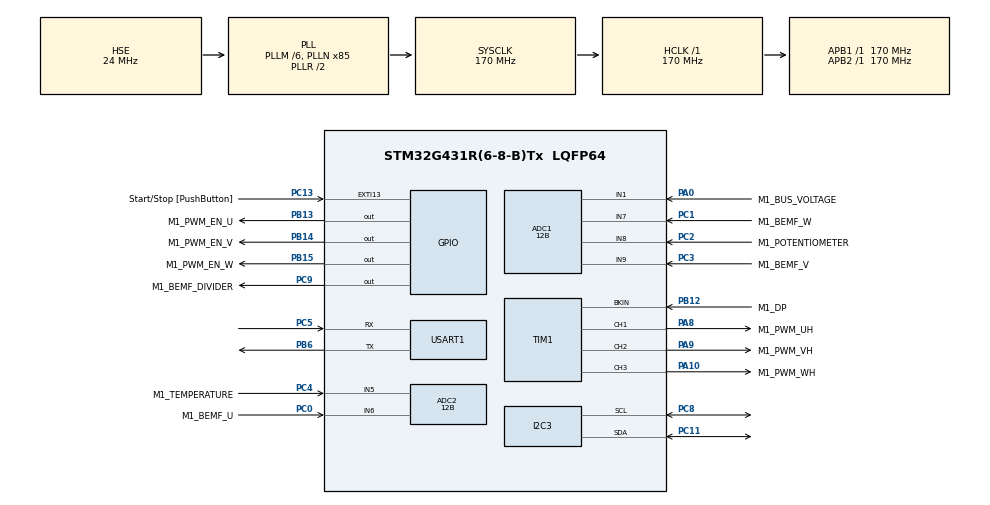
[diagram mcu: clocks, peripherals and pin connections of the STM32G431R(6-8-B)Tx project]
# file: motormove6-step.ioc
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ADC1.AWD1FilteringConfig=ADC_AWD_FILTERING_NONE
ADC1.Channel-1\#ChannelRegularConversion=ADC_CHANNEL_1
ADC1.Channel-2\#ChannelRegularConversion=ADC_CHANNEL_8
ADC1.ClockPrescaler=ADC_CLOCK_ASYNC_DIV1
ADC1.ContinuousConvMode=DISABLE
ADC1.DMAContinuousRequests=DISABLE
ADC1.DataAlign=ADC_DATAALIGN_LEFT
ADC1.DiscontinuousConvMode=DISABLE
ADC1.EOCSelection=ADC_EOC_SINGLE_CONV
ADC1.EnableAnalogWatchDog1=true
ADC1.EnableAnalogWatchDog2=false
ADC1.EnableAnalogWatchDog3=false
ADC1.EnableInjectedConversion=ENABLE
ADC1.EnableRegularConversion=ENABLE
ADC1.ExternalTrigConv=ADC_SOFTWARE_START
ADC1.ExternalTrigConvEdge=ADC_EXTERNALTRIGCONVEDGE_NONE
ADC1.ExternalTrigInjecConv=ADC_EXTERNALTRIGINJEC_T1_TRGO
ADC1.ExternalTrigInjecConvEdge=ADC_EXTERNALTRIGINJECCONV_EDGE_FALLING
ADC1.InjNumberOfConversion=1
ADC1.InjectedChannel-1\#ChannelInjectedConversion=ADC_CHANNEL_9
ADC1.InjectedConvMode=None
ADC1.InjectedOffset-1\#ChannelInjectedConversion=0
ADC1.InjectedOffsetNumber-1\#ChannelInjectedConversion=ADC_OFFSET_NONE
ADC1.InjectedRank-1\#ChannelInjectedConversion=1
ADC1.InjectedSamplingTime-1\#ChannelInjectedConversion=ADC_SAMPLETIME_47CYCLES_5
ADC1.LowPowerAutoWait=DISABLE
ADC1.NbrOfConversion=2
ADC1.NbrOfConversionFlag=1
ADC1.Offset-1\#ChannelRegularConversion=0
ADC1.Offset-2\#ChannelRegularConversion=0
ADC1.OffsetNumber-1\#ChannelRegularConversion=ADC_OFFSET_NONE
ADC1.OffsetNumber-2\#ChannelRegularConversion=ADC_OFFSET_NONE
ADC1.Overrun=ADC_OVR_DATA_PRESERVED
ADC1.Rank-1\#ChannelRegularConversion=1
ADC1.Rank-2\#ChannelRegularConversion=2
ADC1.Resolution=ADC_RESOLUTION_12B
ADC1.SamplingTime-1\#ChannelRegularConversion=ADC_SAMPLETIME_47CYCLES_5
ADC1.SamplingTime-2\#ChannelRegularConversion=ADC_SAMPLETIME_47CYCLES_5
ADC1.ScanConvMode=ADC_SCAN_ENABLE
ADC1.WatchdogChannel=ADC_CHANNEL_9
ADC1.WatchdogMode=ADC_ANALOGWATCHDOG_SINGLE_INJEC
ADC1.master=1
ADC2.AWD1FilteringConfig=ADC_AWD_FILTERING_NONE
ADC2.Channel-1\#ChannelRegularConversion=ADC_CHANNEL_5
ADC2.ClockPrescaler=ADC_CLOCK_ASYNC_DIV1
ADC2.ContinuousConvMode=DISABLE
ADC2.DMAContinuousRequests=DISABLE
ADC2.DataAlign=ADC_DATAALIGN_LEFT
ADC2.DiscontinuousConvMode=DISABLE
ADC2.EOCSelection=ADC_EOC_SINGLE_CONV
ADC2.EnableAnalogWatchDog1=true
ADC2.EnableAnalogWatchDog2=false
ADC2.EnableAnalogWatchDog3=false
ADC2.EnableInjectedConversion=ENABLE
ADC2.EnableRegularConversion=ENABLE
ADC2.ExternalTrigConv=ADC_SOFTWARE_START
ADC2.ExternalTrigConvEdge=ADC_EXTERNALTRIGCONVEDGE_NONE
ADC2.ExternalTrigInjecConv=ADC_EXTERNALTRIGINJEC_T1_TRGO
ADC2.ExternalTrigInjecConvEdge=ADC_EXTERNALTRIGINJECCONV_EDGE_FALLING
ADC2.InjNumberOfConversion=1
ADC2.InjectedChannel-1\#ChannelInjectedConversion=ADC_CHANNEL_6
ADC2.InjectedConvMode=None
ADC2.InjectedOffset-1\#ChannelInjectedConversion=0
ADC2.InjectedOffsetNumber-1\#ChannelInjectedConversion=ADC_OFFSET_NONE
ADC2.InjectedRank-1\#ChannelInjectedConversion=1
ADC2.InjectedSamplingTime-1\#ChannelInjectedConversion=ADC_SAMPLETIME_47CYCLES_5
ADC2.LowPowerAutoWait=DISABLE
ADC2.NbrOfConversion=1
ADC2.NbrOfConversionFlag=1
ADC2.Offset-1\#ChannelRegularConversion=0
ADC2.OffsetNumber-1\#ChannelRegularConversion=ADC_OFFSET_NONE
ADC2.Overrun=ADC_OVR_DATA_PRESERVED
ADC2.Rank-1\#ChannelRegularConversion=1
ADC2.Resolution=ADC_RESOLUTION_12B
ADC2.SamplingTime-1\#ChannelRegularConversion=ADC_SAMPLETIME_47CYCLES_5
ADC2.ScanConvMode=ADC_SCAN_DISABLE
ADC2.WatchdogChannel=ADC_CHANNEL_6
ADC2.WatchdogMode=ADC_ANALOGWATCHDOG_SINGLE_INJEC
ADC2.master=1
ExtraMW=MotorControl
ExtraMW.MotorControl.Config=MotorControl
ExtraMW.MotorControl.Mode=MotorControl
ExtraMW.MotorControl.Root=MCSDK_v6.4.2-Full/MotorControl
ExtraMW.MotorControl.Template=templates
FREERTOS.Queues01=TelemetryQueue,16,uint16_t,0,Dynamic,NULL,NULL
FREERTOS.Tasks01=defaultTask,24,128,StartDefaultTask,Default,NULL,Dynamic,NULL,NULL;TaskCommand,24,128,StartTask02,Default,NULL,Dynamic,NULL,NULL;TaskTelemetry,16,128,StartTask03,Default,NULL,Dynamic,NULL,NULL
FREERTOS.configUSE_NEWLIB_REENTRANT=1
I2C3.Timing=0x40B285C2
Mcu.Family=STM32G4
Mcu.Name=STM32G431R(6-8-B)Tx
Mcu.Package=LQFP64
MotorControl.ADC_REFERENCE_VOLTAGE=3.3
MotorControl.BEMF_ADC_SAMPLING_TIME=47
MotorControl.BEMF_ADC_TRIG_TIME_DPP=921
MotorControl.BEMF_ADC_TRIG_TIME_ON_DPP=256
MotorControl.BEMF_AVERAGING_FIFO_DEPTH=8
MotorControl.BEMF_DIVIDER_AVAILABLE=true
MotorControl.BEMF_DIVIDER_GPIO_PIN=LL_GPIO_PIN_9
MotorControl.BEMF_DIVIDER_GPIO_PORT=GPIOC
MotorControl.BEMF_ON_SENSING_DIVIDER=5.545455
MotorControl.BEMF_PWM_ON_ENABLE_HYSTERESIS_DPP=51
MotorControl.BEMF_PWM_ON_ENABLE_THRES_DPP=716
MotorControl.BOARD=NUCLEO-G431RB
MotorControl.BUS_VOLTAGE_READING=true
MotorControl.CCMRAM_ENABLED=false
MotorControl.CLOCK_FREQUENCY=CPU_CLK_170_MHZ
MotorControl.CLOCK_SOURCE=EXTERNAL
MotorControl.CPU_CLK_170_MHZ=true
MotorControl.CTLBOARD_NAME=NUCLEO-G431RB
MotorControl.CUBE_MX_VER=6.17.0
MotorControl.DBG_MCU_LOAD_MEASURE=false
MotorControl.DEBUG_DAC_FUNCTIONALITY_EN=false
MotorControl.DP_EMERGENCY_STOP_GPIO_PIN=LL_GPIO_PIN_12
MotorControl.DP_EMERGENCY_STOP_GPIO_PORT=GPIOB
MotorControl.DRIVES_NUMBER_SELECTION=SINGLEDRIVE
MotorControl.DRIVE_MODE=VM
MotorControl.DRIVE_NUMBER=1
MotorControl.DRIVE_TYPE=SIX_STEP
MotorControl.ENCODER_AVAILABLE=false
MotorControl.ENCODER_PPR=400
MotorControl.EXT_CLK_24_MHZ=true
MotorControl.EXT_CLOCK_FREQUENCY=EXT_CLK_24_MHZ
MotorControl.FAST_DEMAG=false
MotorControl.FLASH_SIZE=128
MotorControl.HALL_SENSORS_AVAILABLE=false
MotorControl.HIGH_SIDE_IDLE_STATE=false
MotorControl.HWV_DP=SingleErrorTrigger_FixedReference
MotorControl.HWV_POTENTIOMETER=Potentiometer
MotorControl.HWV_PWM=DrivingHighSidesAndThreeEnables
MotorControl.HW_COMPLEMENTED_LOW_SIDE=true
MotorControl.HW_DEAD_TIME_NS=550
MotorControl.IPs=NVIC,RCC,SYS,MotorControl,TIM1,TIM2,ADC2,ADC1,USART2,DMA
MotorControl.LF_TIMER_SELECTION=LF_TIM2
MotorControl.LOW_MEMORY_FOOTPRINT_REG=false
MotorControl.LOW_SIDE_IDLE_STATE=false
MotorControl.LOW_SIDE_SIGNALS_ENABLING=ES_GPIO
MotorControl.M1_ADC_AWD_FILTER_NUMBER=0
MotorControl.M1_AUXILIARY_SPEED_SENSOR=NONE
MotorControl.M1_BEMF_THRESHOLD_PWM=50
MotorControl.M1_BEMF_THRESHOLD_PWM_HIGH=100
MotorControl.M1_BEMF_THRESHOLD_PWM_LOW=1
MotorControl.M1_BOARD_MAX_CURRENT=0.8
MotorControl.M1_BUS_VOLTAGE_READING=true
MotorControl.M1_COMPUTATION_DELAY=-2
MotorControl.M1_CURRENT_MONITOR_READING=false
MotorControl.M1_CUR_READING=false
MotorControl.M1_DBG_OPEN_LOOP_ENABLE=false
MotorControl.M1_DC_CURRENT_RS_MEAS=0.8
MotorControl.M1_DEFAULT_TARGET_SPEED_RPM=236
MotorControl.M1_DP_BKIN_FILTER=4
MotorControl.M1_DP_BKIN_MODE=EXT_MODE
MotorControl.M1_DP_BKIN_POLARITY=EMSTOP_ACTIVE_LOW
MotorControl.M1_DP_DESTINATION=TIM_BKIN
MotorControl.M1_DP_TOPOLOGY=EXTERNAL
MotorControl.M1_DRIVE_TYPE=SIX_STEP
MotorControl.M1_ENABLE_SL_ALGO_FROM_PHASE=3
MotorControl.M1_ENCODER_PPR=400
MotorControl.M1_HALL_PHASE_SHIFT=300
MotorControl.M1_HALL_SENSORS_PLACEMENT=DEGREES_120
MotorControl.M1_HIGH_SIDE_IDLE_STATE=false
MotorControl.M1_HW_DEAD_TIME_NS=550
MotorControl.M1_ICL_ENABLED=false
MotorControl.M1_IPD_STARTUP=false
MotorControl.M1_LDLQ_RATIO=1.000
MotorControl.M1_LOW_SIDE_IDLE_STATE=false
MotorControl.M1_LOW_SIDE_SIGNALS_ENABLING=ES_GPIO
MotorControl.M1_LS=0.001058
MotorControl.M1_MAX_APPLICATION_SPEED=1572
MotorControl.M1_MAX_CONSECUTIVE_BEMF_ERRORS=3
MotorControl.M1_MIN_APPLICATION_SPEED=0
MotorControl.M1_MOTOR_MAX_SPEED_RPM=1572
MotorControl.M1_MOTOR_NAME=GimBal GBM2804H-100T
MotorControl.M1_MOTOR_RATED_FLUX=0.034739897
MotorControl.M1_MOTOR_VOLTAGE_CONSTANT=5.0
MotorControl.M1_NB_CONSECUTIVE_TESTS=10
MotorControl.M1_NOMINAL_BUS_VOLTAGE_V=13
MotorControl.M1_OBS_MINIMUM_SPEED_RPM=236
MotorControl.M1_OCP_TOPOLOGY=NONE
MotorControl.M1_ON_OVER_VOLTAGE=TURN_OFF_PWM
MotorControl.M1_OTF_STARTUP=false
MotorControl.M1_OVP_THRESHOLD_HIGH=15.1
MotorControl.M1_OV_TEMPERATURE_HYSTERESIS_C=10
MotorControl.M1_OV_TEMPERATURE_PROT_ENABLING=true
MotorControl.M1_OV_TEMPERATURE_THRESHOLD_C=110
MotorControl.M1_OV_VOLTAGE_PROT_ENABLING=true
MotorControl.M1_OV_VOLTAGE_THRESHOLD_V=15.1
MotorControl.M1_PHASE1_DURATION=500
MotorControl.M1_PHASE1_FINAL_SPEED_RPM=0
MotorControl.M1_PHASE1_VOLTAGE_RMS=0.52
MotorControl.M1_PHASE2_DURATION=1000
MotorControl.M1_PHASE2_FINAL_SPEED_RPM=236
MotorControl.M1_PHASE2_VOLTAGE_RMS=4.6
MotorControl.M1_PHASE3_DURATION=500
MotorControl.M1_PHASE3_FINAL_SPEED_RPM=236
MotorControl.M1_PHASE3_VOLTAGE_RMS=4.6
MotorControl.M1_PHASE4_DURATION=0
MotorControl.M1_PHASE4_FINAL_SPEED_RPM=0
MotorControl.M1_PHASE4_VOLTAGE_RMS=0.52
MotorControl.M1_PHASE5_DURATION=0
MotorControl.M1_PHASE5_FINAL_SPEED_RPM=0
MotorControl.M1_PHASE5_VOLTAGE_RMS=0.52
MotorControl.M1_PID_SPEED_KD_DEFAULT=0
MotorControl.M1_PID_SPEED_KI_DEFAULT=238
MotorControl.M1_PID_SPEED_KP_DEFAULT=2316
MotorControl.M1_POLE_PAIR_NUM=7
MotorControl.M1_POTENTIOMETER_ENABLE=true
MotorControl.M1_POWERBOARD_NAME=X-NUCLEO-IHM16M1
MotorControl.M1_PWM_CHARGE_BOOT_CAP_DUTY_CYCLES=0.000
MotorControl.M1_PWM_CHARGE_BOOT_CAP_MS=10
MotorControl.M1_PWM_DRIVER_PN=STSPIN830
MotorControl.M1_PWM_FREQUENCY=15000
MotorControl.M1_PWM_TIMER_BRK_IRQ=TIM1_BRK_TIM15
MotorControl.M1_PWM_TIMER_SELECTION=PWM_TIM1
MotorControl.M1_PWM_TIMER_UP_IRQ=TIM1_UP_TIM16
MotorControl.M1_REGULATION_EXECUTION_RATE=1
MotorControl.M1_RS=5.29
MotorControl.M1_SHARED_SIGNAL_ENABLE=false
MotorControl.M1_SPD_DIFFERENTIAL_TERM_ENABLING=false
MotorControl.M1_SPEED_LOOP_FREQUENCY_HZ=1000
MotorControl.M1_SPEED_SENSOR=SENSORLESS_ADC
MotorControl.M1_SP_KDDIV=16
MotorControl.M1_SP_KIDIV=16384
MotorControl.M1_SP_KPDIV=512
MotorControl.M1_SS_MEAS_ERRORS_BEFORE_FAULTS=3
MotorControl.M1_STARTING_ANGLE_DEG=0
MotorControl.M1_SW_DEADTIME_NS=425
MotorControl.M1_T0_C=25
MotorControl.M1_TEMPERATURE_READING=true
MotorControl.M1_TEMP_ADC_SAMPLING_TIME=47
MotorControl.M1_TEMP_FDBK_ADC=ADC2
MotorControl.M1_TEMP_FDBK_CHANNEL=ADC_CHANNEL_5
MotorControl.M1_TRANSITION_DURATION=30
MotorControl.M1_T_MAX=110
MotorControl.M1_UD_VOLTAGE_THRESHOLD_V=7.0
MotorControl.M1_UV_VOLTAGE_PROT_ENABLING=true
MotorControl.M1_V0_V=0.579
MotorControl.M1_VBUS_ADC=ADC1
MotorControl.M1_VBUS_ADC_SAMPLING_TIME=47
MotorControl.M1_VBUS_CHANNEL=ADC_CHANNEL_1
MotorControl.M1_VBUS_PARTITIONING_FACTOR=0.0625
MotorControl.M1_ZCD_FALLING_TO_COMM=30
MotorControl.M1_ZCD_RISING_TO_COMM=30
MotorControl.M1_dV_dT=0.027
MotorControl.MCP_ASPEP_OVER_UART=true
MotorControl.MCP_ASYNC_EN=false
MotorControl.MCP_ASYNC_OVER_ASPEP_EN=false
MotorControl.MCP_ASYNC_OVER_UART_A_EN=false
MotorControl.MCP_DMACH_RX_UART_A=1
MotorControl.MCP_DMACH_TX_UART_A=2
MotorControl.MCP_DMA_RX_UART_A=DMA1
MotorControl.MCP_DMA_TX_UART_A=DMA1
MotorControl.MCP_EN=true
MotorControl.MCP_IRQ_HANDLER_DMA_RX_UART_A=DMA1_Channel1_IRQHandler
MotorControl.MCP_IRQ_HANDLER_UART_A=USART2_IRQHandler
MotorControl.MCP_OVER_ASPEP_EN=true
MotorControl.MCP_OVER_STLNK_EN=false
MotorControl.MCP_OVER_UART_A_EN=true
MotorControl.MCP_OVER_UART_B_EN=false
MotorControl.MCP_RX_SYNC_PAYLOAD_MAX=256
MotorControl.MCP_TX_SYNC_PAYLOAD_MAX=256
MotorControl.MCU=STM32G431RB
MotorControl.MCU_FAMILY=STM32G4
MotorControl.MCU_LINE=STM32G4x1
MotorControl.MCU_NAME=STM32G431R(6-8-B)Tx
MotorControl.MCU_PACKAGE=LQFP64
MotorControl.MCU_TYPE=STM32G431RB
MotorControl.MCU_USERNAME=STM32G431RBTx
MotorControl.MC_WORKBENCH_VERSION=6.4.2
MotorControl.MIN_DEMAG_TIME=3
MotorControl.MOTOR_TYPE=PMSM
MotorControl.ON_OVER_VOLTAGE=TURN_OFF_PWM
MotorControl.OV_TEMPERATURE_PROT_ENABLING=true
MotorControl.OV_VOLTAGE_PROT_ENABLING=true
MotorControl.PHASE_UH_GPIO_PIN=LL_GPIO_PIN_8
MotorControl.PHASE_UH_GPIO_PORT=GPIOA
MotorControl.PHASE_UH_POLARITY=H_ACTIVE_HIGH
MotorControl.PHASE_UL_GPIO_PIN=LL_GPIO_PIN_13
MotorControl.PHASE_UL_GPIO_PORT=GPIOB
MotorControl.PHASE_UL_POLARITY=L_ACTIVE_HIGH
MotorControl.PHASE_U_BEMF_ADC=ADC2
MotorControl.PHASE_U_BEMF_CHANNEL=ADC_CHANNEL_6
MotorControl.PHASE_U_BEMF_GPIO_PIN=LL_GPIO_PIN_0
MotorControl.PHASE_U_BEMF_GPIO_PORT=GPIOC
MotorControl.PHASE_U_PWM_CHANNEL=TIM_Channel_1
MotorControl.PHASE_VH_GPIO_PIN=LL_GPIO_PIN_9
MotorControl.PHASE_VH_GPIO_PORT=GPIOA
MotorControl.PHASE_VH_POLARITY=H_ACTIVE_HIGH
MotorControl.PHASE_VL_GPIO_PIN=LL_GPIO_PIN_14
MotorControl.PHASE_VL_GPIO_PORT=GPIOB
MotorControl.PHASE_VL_POLARITY=L_ACTIVE_HIGH
MotorControl.PHASE_V_BEMF_ADC=ADC1
MotorControl.PHASE_V_BEMF_CHANNEL=ADC_CHANNEL_9
MotorControl.PHASE_V_BEMF_GPIO_PIN=LL_GPIO_PIN_3
MotorControl.PHASE_V_BEMF_GPIO_PORT=GPIOC
MotorControl.PHASE_V_PWM_CHANNEL=TIM_Channel_2
MotorControl.PHASE_WH_GPIO_PIN=LL_GPIO_PIN_10
MotorControl.PHASE_WH_GPIO_PORT=GPIOA
MotorControl.PHASE_WH_POLARITY=H_ACTIVE_HIGH
MotorControl.PHASE_WL_GPIO_PIN=LL_GPIO_PIN_15
MotorControl.PHASE_WL_GPIO_PORT=GPIOB
MotorControl.PHASE_WL_POLARITY=L_ACTIVE_HIGH
MotorControl.PHASE_W_BEMF_ADC=ADC1
MotorControl.PHASE_W_BEMF_CHANNEL=ADC_CHANNEL_7
MotorControl.PHASE_W_BEMF_GPIO_PIN=LL_GPIO_PIN_1
MotorControl.PHASE_W_BEMF_GPIO_PORT=GPIOC
MotorControl.PHASE_W_PWM_CHANNEL=TIM_Channel_3
MotorControl.POTENTIOMETER_ADC=ADC1
MotorControl.POTENTIOMETER_ADC_SAMPLING_TIME=47
MotorControl.POTENTIOMETER_CHANNEL=ADC_CHANNEL_8
MotorControl.POTENTIOMETER_GPIO_PIN=LL_GPIO_PIN_2
MotorControl.POTENTIOMETER_GPIO_PORT=GPIOC
MotorControl.POTENTIOMETER_READING=true
MotorControl.PWM_FREQUENCY=15000
MotorControl.PWM_TIMER_SELECTION=PWM_TIM1
MotorControl.QUASI_SYNC=false
MotorControl.REGULATION_EXECUTION_RATE=1
MotorControl.RUN_DEMAG_TIME=20
MotorControl.R_BRAKE_SWITCH_OFF_THRES_V=12
MotorControl.SENSORLESS_ADC=true
MotorControl.SINGLEDRIVE=true
MotorControl.SPD_DIFFERENTIAL_TERM_ENABLING=false
MotorControl.SPEED_SENSOR_SELECTION=SENSORLESS_ADC
MotorControl.SPEED_THRESHOLD_DEMAG=786
MotorControl.STARTUP_DEMAG_TIME=20
MotorControl.START_STOP_BTN=true
MotorControl.START_STOP_GPIO_IRQ=EXTI15_10
MotorControl.START_STOP_GPIO_PIN=LL_GPIO_PIN_13
MotorControl.START_STOP_GPIO_PORT=GPIOC
MotorControl.START_STOP_POLARITY=DIN_ACTIVE_LOW
MotorControl.START_STOP_POLARITY_EDGE=GPIO_NOPULL
MotorControl.STM32G431RB=true
MotorControl.SW_DEADTIME_NS=425
MotorControl.TEMPERATURE_READING=true
MotorControl.TEMP_ADC_SAMPLING_TIME=47
MotorControl.TEMP_FDBK_ADC=ADC2
MotorControl.TEMP_FDBK_CHANNEL=ADC_CHANNEL_5
MotorControl.TEMP_FDBK_GPIO_PIN=LL_GPIO_PIN_4
MotorControl.TEMP_FDBK_GPIO_PORT=GPIOC
MotorControl.TFDIFFERENTIAL_TERM_ENABLING=false
MotorControl.USART_RX_GPIO_PIN=LL_GPIO_PIN_3
MotorControl.USART_RX_GPIO_PORT=GPIOA
MotorControl.USART_SELECTION=USE_USART2
MotorControl.USART_SELECTION_A=USART2
MotorControl.USART_SPEED=1843200
MotorControl.USART_TX_GPIO_PIN=LL_GPIO_PIN_2
MotorControl.USART_TX_GPIO_PORT=GPIOA
MotorControl.UV_VOLTAGE_PROT_ENABLING=true
MotorControl.VBUS_ADC=ADC1
MotorControl.VBUS_ADC_SAMPLING_TIME=47
MotorControl.VBUS_CHANNEL=ADC_CHANNEL_1
MotorControl.VBUS_GPIO_PIN=LL_GPIO_PIN_0
MotorControl.VBUS_GPIO_PORT=GPIOA
MotorControl.WB_MX_ADC_AWD_FILTER_NUMBER=NONE
MotorControl.WB_MX_HEAPSIZE=0x200
MotorControl.WB_MX_PHASE_U_BEMF_ADC_IRQ=ADC1_2
MotorControl.WB_MX_PHASE_V_BEMF_ADC_IRQ=ADC1_2
MotorControl.WB_MX_PHASE_W_BEMF_ADC_IRQ=ADC1_2
MotorControl.WB_MX_STACKSIZE=0x400
MotorControl.WB_MX_TRUSTZONE_AVAILABLE=false
MotorControl.WB_UI_DP_DISABLING_ENABLE=false
MotorControl.WB_UI_ENCODER_HAS_INDEX_PIN=false
MotorControl.WB_UI_FRICTION=0.937
MotorControl.WB_UI_INERTIA=0.291
MotorControl.WB_UI_MAGNETIC_STRUCTURE=SM-PMSM
MotorControl.WB_UI_MAX_CURRENT=0.8
MotorControl.WB_UI_MAX_NOMINAL_DC_VOLTAGE=13
MotorControl.WB_UI_MAX_PWMFREQUENCY=100000
MotorControl.WB_UI_MOTOR_DESCRIPTION=iPower GBM2804H-100T Brushless Gimbal Motor
MotorControl.WB_UI_PWM_ON_SENSING=true
MotorControl.WB_UI_PW_BOARD_MAX_RATED_CURRENT=2.12
MotorControl.WB_UI_PW_BOARD_MAX_VOLTAGE=45
MotorControl.WB_UI_PW_BOARD_MIN_VOLTAGE=7
MotorControl.WB_to_Mx_template_version=25-05-06
MotorControl.WB_to_Mx_version=6.4.2
NVIC.ADC1_2_IRQn=true\:5\:0\:true\:true\:false\:4\:true\:true\:true\:true
NVIC.EXTI15_10_IRQn=true\:5\:0\:false\:true\:false\:5\:true\:true\:true\:true
NVIC.PriorityGroup=NVIC_PRIORITYGROUP_4
NVIC.TIM1_BRK_TIM15_IRQn=true\:5\:0\:true\:true\:false\:2\:true\:true\:true\:true
NVIC.TIM1_UP_TIM16_IRQn=true\:5\:0\:false\:true\:false\:3\:true\:true\:true\:true
NVIC.TIM2_IRQn=true\:5\:0\:true\:true\:false\:1\:true\:true\:true\:true
NVIC.TIM6_DAC_IRQn=true\:15\:0\:true\:false\:true\:false\:false\:true\:true
NVIC.TimeBase=TIM6_DAC_IRQn
NVIC.TimeBaseIP=TIM6
PA0.GPIO_Label=M1_BUS_VOLTAGE
PA0.Mode=IN1-Single-Ended
PA0.Signal=ADC1_IN1
PA10.GPIO_Label=M1_PWM_WH
PA10.GPIO_PuPd=GPIO_PULLDOWN
PA10.GPIO_Speed=GPIO_SPEED_FREQ_HIGH
PA10.Signal=S_TIM1_CH3
PA2.GPIO_Label=UART_TX
PA2.GPIO_Mode=GPIO_MODE_AF_PP
PA2.GPIO_PuPd=GPIO_NOPULL
PA2.GPIO_Speed=GPIO_SPEED_FREQ_LOW
PA2.Signal=USART2_TX
PA3.GPIO_Label=UART_RX
PA3.GPIO_Mode=GPIO_MODE_AF_PP
PA3.GPIO_PuPd=GPIO_NOPULL
PA3.GPIO_Speed=GPIO_SPEED_FREQ_LOW
PA3.Signal=USART2_RX
PA8.GPIO_Label=M1_PWM_UH
PA8.GPIO_PuPd=GPIO_PULLDOWN
PA8.GPIO_Speed=GPIO_SPEED_FREQ_HIGH
PA8.Signal=S_TIM1_CH1
PA9.GPIO_Label=M1_PWM_VH
PA9.GPIO_PuPd=GPIO_PULLDOWN
PA9.GPIO_Speed=GPIO_SPEED_FREQ_HIGH
PA9.Signal=S_TIM1_CH2
PB12.GPIO_Label=M1_DP
PB12.GPIO_PuPd=GPIO_PULLUP
PB12.Mode=Activate-Break-Input
PB12.Signal=TIM1_BKIN
PB13.GPIO_Label=M1_PWM_EN_U
PB13.GPIO_PuPd=GPIO_PULLDOWN
PB13.GPIO_Speed=GPIO_SPEED_FREQ_HIGH
PB13.Signal=GPIO_Output
PB14.GPIO_Label=M1_PWM_EN_V
PB14.GPIO_PuPd=GPIO_PULLDOWN
PB14.GPIO_Speed=GPIO_SPEED_FREQ_HIGH
PB14.Signal=GPIO_Output
PB15.GPIO_Label=M1_PWM_EN_W
PB15.GPIO_PuPd=GPIO_PULLDOWN
PB15.GPIO_Speed=GPIO_SPEED_FREQ_HIGH
PB15.Signal=GPIO_Output
PB6.Mode=Asynchronous
PB6.Signal=USART1_TX
PC0.GPIO_Label=M1_BEMF_U
PC0.Mode=IN6-Single-Ended
PC0.Signal=ADC2_IN6
PC1.GPIO_Label=M1_BEMF_W
PC1.Mode=IN7-Single-Ended
PC1.Signal=ADC1_IN7
PC11.GPIO_Pu=GPIO_PULLUP
PC11.GPIO_Speed=GPIO_SPEED_FREQ_VERY_HIGH
PC11.Mode=I2C
PC11.Signal=I2C3_SDA
PC13.GPIO_Label=Start/Stop [PushButton]
PC13.GPIO_ModeDefaultEXTI=GPIO_MODE_IT_FALLING
PC13.GPIO_PuPd=GPIO_NOPULL
PC13.Signal=GPXTI13
PC2.GPIO_Label=M1_POTENTIOMETER
PC2.Mode=IN8-Single-Ended
PC2.Signal=ADC1_IN8
PC3.GPIO_Label=M1_BEMF_V
PC3.Mode=IN9-Single-Ended
PC3.Signal=ADC1_IN9
PC4.GPIO_Label=M1_TEMPERATURE
PC4.Mode=IN5-Single-Ended
PC4.Signal=ADC2_IN5
PC5.Mode=Asynchronous
PC5.Signal=USART1_RX
PC8.GPIO_Pu=GPIO_PULLUP
PC8.GPIO_Speed=GPIO_SPEED_FREQ_VERY_HIGH
PC8.Mode=I2C
PC8.Signal=I2C3_SCL
PC9.GPIO_Label=M1_BEMF_DIVIDER
PC9.GPIO_PuPd=GPIO_PULLDOWN
PC9.PinState=GPIO_PIN_RESET
PC9.Signal=GPIO_Output
PF0-OSC_IN.Mode=HSE-External-Oscillator
PF0-OSC_IN.Signal=RCC_OSC_IN
PF1-OSC_OUT.Mode=HSE-External-Oscillator
PF1-OSC_OUT.Signal=RCC_OSC_OUT
ProjectManager.HeapSize=0x200
ProjectManager.StackSize=0x400
ProjectManager.TargetToolchain=STM32CubeIDE
RCC.ADC12CLockSelection=RCC_ADC12CLKSOURCE_PLL
RCC.ADC12Freq_Value=42500000
RCC.AHBFreq_Value=170000000
RCC.APB1Freq_Value=170000000
RCC.APB1TimFreq_Value=170000000
RCC.APB2Freq_Value=170000000
RCC.APB2TimFreq_Value=170000000
RCC.CK48CLockSelection=RCC_USBCLKSOURCE_PLL
RCC.CortexFreq_Value=170000000
RCC.EXTERNAL_CLOCK_VALUE=12288000
RCC.EnbaleCSS=true
RCC.HCLKFreq_Value=170000000
RCC.HSE_VALUE=24000000
RCC.HSI48_VALUE=48000000
RCC.HSI_VALUE=16000000
RCC.LSE_VALUE=32768
RCC.PLLM=RCC_PLLM_DIV6
RCC.PLLN=85
RCC.PLLP=RCC_PLLP_DIV8
RCC.PLLSourceVirtual=RCC_PLLSOURCE_HSE
RCC.PREFETCH_ENABLE=1
RCC.SYSCLKFreq_VALUE=170000000
RCC.SYSCLKSource=RCC_SYSCLKSOURCE_PLLCLK
RCC.USBFreq_Value=170000000
RCC.VCOOutputFreq_Value=340000000
SH.S_TIM1_CH1.0=TIM1_CH1,PWM Generation1 CH1
SH.S_TIM1_CH2.0=TIM1_CH2,PWM Generation2 CH2
SH.S_TIM1_CH3.0=TIM1_CH3,PWM Generation3 CH3
TIM1.AutoReloadPreload=TIM_AUTORELOAD_PRELOAD_DISABLE
TIM1.AutomaticOutput=TIM_AUTOMATICOUTPUT_DISABLE
TIM1.Break2Filter=3
TIM1.Break2Polarity=TIM_BREAK2POLARITY_HIGH
TIM1.Break2State=TIM_BREAK2_DISABLE
TIM1.BreakFilter=4
TIM1.BreakPolarity=TIM_BREAKPOLARITY_HIGH
TIM1.BreakState=TIM_BREAK_ENABLE
TIM1.Channel=TIM_CHANNEL_4
TIM1.Channel-PWM\ Generation1\ CH1=TIM_CHANNEL_1
TIM1.Channel-PWM\ Generation2\ CH2=TIM_CHANNEL_2
TIM1.Channel-PWM\ Generation3\ CH3=TIM_CHANNEL_3
TIM1.Channel-PWM\ Generation4\ No\ Output=TIM_CHANNEL_4
TIM1.ClearInputSource=TIM_CLEARINPUTSOURCE_NONE
TIM1.ClockDivision=TIM_CLOCKDIVISION_DIV1
TIM1.CounterMode=TIM_COUNTERMODE_UP
TIM1.LockLevel=TIM_LOCKLEVEL_OFF
TIM1.OC1Preload_PWM=ENABLE
TIM1.OC2Preload_PWM=ENABLE
TIM1.OC3Preload_PWM=ENABLE
TIM1.OC4Preload_PWM=ENABLE
TIM1.OCFastMode_PWM=TIM_OCFAST_DISABLE
TIM1.OCIdleState_1=TIM_OCIDLESTATE_RESET
TIM1.OCIdleState_2=TIM_OCIDLESTATE_RESET
TIM1.OCIdleState_3=TIM_OCIDLESTATE_RESET
TIM1.OCIdleState_4=TIM_OCIDLESTATE_RESET
TIM1.OCMode_PWM-PWM\ Generation1\ CH1=TIM_OCMODE_PWM1
TIM1.OCMode_PWM-PWM\ Generation2\ CH2=TIM_OCMODE_PWM1
TIM1.OCMode_PWM-PWM\ Generation3\ CH3=TIM_OCMODE_PWM1
TIM1.OCMode_PWM-PWM\ Generation4\ No\ Output=TIM_OCMODE_PWM1
TIM1.OCPolarity_1=TIM_OCPOLARITY_HIGH
TIM1.OCPolarity_2=TIM_OCPOLARITY_HIGH
TIM1.OCPolarity_3=TIM_OCPOLARITY_HIGH
TIM1.OCPolarity_4=TIM_OCPOLARITY_HIGH
TIM1.OffStateIDLEMode=TIM_OSSI_DISABLE
TIM1.OffStateRunMode=TIM_OSSR_DISABLE
TIM1.PeriodNoDither=(PWM_PERIOD_CYCLES)
TIM1.Prescaler=((TIM_CLOCK_DIVIDER) - 1)
TIM1.RepetitionCounter=(REP_COUNTER)
TIM1.SourceBRK2DigInput=TIM_BREAKINPUTSOURCE_DISABLE
TIM1.SourceBRKDigInput=TIM_BREAKINPUTSOURCE_ENABLE
TIM1.SourceBRKDigInputPolarity=TIM_BREAKINPUTSOURCE_POLARITY_LOW
TIM1.TIM_MasterOutputTrigger=TIM_TRGO_OC4REF
TIM1.TIM_MasterOutputTrigger2=TIM_TRGO2_RESET
TIM1.TIM_MasterSlaveMode=TIM_MASTERSLAVEMODE_ENABLE
TIM2.PeriodNoDither=LF_TIMER_ARR
TIM2.Prescaler=LF_TIMER_PSC
TIM2.TIM_MasterOutputTrigger=TIM_TRGO_ENABLE
TIM2.TIM_MasterSlaveMode=TIM_MASTERSLAVEMODE_ENABLE
USART1.VirtualMode-Asynchronous=VM_ASYNC
VP_FREERTOS_VS_CMSIS_V2.Mode=CMSIS_V2
VP_MotorControl_MC_ENABLED.Mode=SixStep
VP_SYS_VS_DBSignals.Mode=DisableDeadBatterySignals
VP_SYS_VS_tim6.Mode=TIM6
VP_TIM1_VS_ClockSourceINT.Mode=Internal
VP_TIM1_VS_no_output4.Mode=PWM Generation4 No Output
VP_TIM2_VS_ClockSourceINT.Mode=Internal
board=custom

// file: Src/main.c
/* USER CODE BEGIN Header */
/**
  ******************************************************************************
  * @file           : main.c
  * @brief          : Main program body
  ******************************************************************************
  * @attention
  *
  * Copyright (c) 2026 STMicroelectronics.
  * All rights reserved.
  *
  * This software is licensed under terms that can be found in the LICENSE file
  * in the root directory of this software component.
  * If no LICENSE file comes with this software, it is provided AS-IS.
  *
  ******************************************************************************
  */
/* USER CODE END Header */
#include "main.h"
#include "cmsis_os.h"

/* USER CODE BEGIN Includes */
#include "mc_interface.h"
#include "motorcontrol.h"
#include <stdbool.h>
#include <stdio.h>
#include "mc_tasks.h"
#include <string.h>

/* USER CODE END Includes */

/* USER CODE BEGIN PD */
#define SERLCD_WRITE_ADDR (0x72 << 1)

/* USER CODE END PD */

ADC_HandleTypeDef hadc1;
ADC_HandleTypeDef hadc2;

I2C_HandleTypeDef hi2c3;

TIM_HandleTypeDef htim1;
TIM_HandleTypeDef htim2;

UART_HandleTypeDef huart1;

/* Definitions for defaultTask */
osThreadId_t defaultTaskHandle;
const osThreadAttr_t defaultTask_attributes = {
  .name = "defaultTask",
  .priority = (osPriority_t) osPriorityNormal,
  .stack_size = 128 * 4
};
/* Definitions for TaskCommand */
osThreadId_t TaskCommandHandle;
const osThreadAttr_t TaskCommand_attributes = {
  .name = "TaskCommand",
  .priority = (osPriority_t) osPriorityNormal,
  .stack_size = 128 * 4
};
/* Definitions for TaskTelemetry */
osThreadId_t TaskTelemetryHandle;
const osThreadAttr_t TaskTelemetry_attributes = {
  .name = "TaskTelemetry",
  .priority = (osPriority_t) osPriorityBelowNormal,
  .stack_size = 128 * 4
};
/* Definitions for TelemetryQueue */
osMessageQueueId_t TelemetryQueueHandle;
const osMessageQueueAttr_t TelemetryQueue_attributes = {
  .name = "TelemetryQueue"
};
/* USER CODE BEGIN PV */
volatile bool motor_running = true;
/* USER CODE END PV */

void SystemClock_Config(void);
static void MX_GPIO_Init(void);
static void MX_ADC1_Init(void);
static void MX_ADC2_Init(void);
static void MX_TIM1_Init(void);
static void MX_TIM2_Init(void);
static void MX_USART1_UART_Init(void);
static void MX_I2C3_Init(void);
void StartDefaultTask(void *argument);
void StartTask02(void *argument);
void StartTask03(void *argument);

static void MX_NVIC_Init(void);
/* USER CODE BEGIN PFP */
void writeLCDText(char *line1, char *line2);
/* USER CODE END PFP */

int main(void)
{

  /* MCU Configuration--------------------------------------------------------*/

  /* Reset of all peripherals, Initializes the Flash interface and the Systick. */
  HAL_Init();

  /* Configure the system clock */
  SystemClock_Config();

  /* Initialize all configured peripherals */
  MX_GPIO_Init();
  MX_ADC1_Init();
  MX_ADC2_Init();
  MX_TIM1_Init();
  MX_TIM2_Init();
  MX_MotorControl_Init();
  MX_USART1_UART_Init();
  MX_I2C3_Init();

  /* Initialize interrupts */
  MX_NVIC_Init();
  /* USER CODE BEGIN 2 */
  // 1. Clear any lingering faults from startup
  MC_AcknowledgeFaultMotor1();

  // 2. Set the target speed FIRST (speed, duration in ms)
//  MC_ProgramSpeedRampMotor1(3000, 500);

  // 3. Command the motor to start
//  MC_StartMotor1();
  /* USER CODE END 2 */

  /* Init scheduler */
  osKernelInitialize();

  /* Create the queue(s) */
  /* creation of TelemetryQueue */
  TelemetryQueueHandle = osMessageQueueNew (16, sizeof(uint16_t), &TelemetryQueue_attributes);

  /* Create the thread(s) */
  /* creation of defaultTask */
  defaultTaskHandle = osThreadNew(StartDefaultTask, NULL, &defaultTask_attributes);

  /* creation of TaskCommand */
  TaskCommandHandle = osThreadNew(StartTask02, NULL, &TaskCommand_attributes);

  /* creation of TaskTelemetry */
  TaskTelemetryHandle = osThreadNew(StartTask03, NULL, &TaskTelemetry_attributes);

  /* Start scheduler */
  osKernelStart();

  /* We should never get here as control is now taken by the scheduler */

  /* Infinite loop */
  while (1)
  {

  }
}

void SystemClock_Config(void)
{
  RCC_OscInitTypeDef RCC_OscInitStruct = {0};
  RCC_ClkInitTypeDef RCC_ClkInitStruct = {0};

  /** Configure the main internal regulator output voltage
  */
  HAL_PWREx_ControlVoltageScaling(PWR_REGULATOR_VOLTAGE_SCALE1_BOOST);

  /** Initializes the RCC Oscillators according to the specified parameters
  * in the RCC_OscInitTypeDef structure.
  */
  RCC_OscInitStruct.OscillatorType = RCC_OSCILLATORTYPE_HSE;
  RCC_OscInitStruct.HSEState = RCC_HSE_ON;
  RCC_OscInitStruct.PLL.PLLState = RCC_PLL_ON;
  RCC_OscInitStruct.PLL.PLLSource = RCC_PLLSOURCE_HSE;
  RCC_OscInitStruct.PLL.PLLM = RCC_PLLM_DIV6;
  RCC_OscInitStruct.PLL.PLLN = 85;
  RCC_OscInitStruct.PLL.PLLP = RCC_PLLP_DIV8;
  RCC_OscInitStruct.PLL.PLLQ = RCC_PLLQ_DIV2;
  RCC_OscInitStruct.PLL.PLLR = RCC_PLLR_DIV2;
  if (HAL_RCC_OscConfig(&RCC_OscInitStruct) != HAL_OK)
  {
    Error_Handler();
  }

  /** Initializes the CPU, AHB and APB buses clocks
  */
  RCC_ClkInitStruct.ClockType = RCC_CLOCKTYPE_HCLK|RCC_CLOCKTYPE_SYSCLK
                              |RCC_CLOCKTYPE_PCLK1|RCC_CLOCKTYPE_PCLK2;
  RCC_ClkInitStruct.SYSCLKSource = RCC_SYSCLKSOURCE_PLLCLK;
  RCC_ClkInitStruct.AHBCLKDivider = RCC_SYSCLK_DIV1;
  RCC_ClkInitStruct.APB1CLKDivider = RCC_HCLK_DIV1;
  RCC_ClkInitStruct.APB2CLKDivider = RCC_HCLK_DIV1;

  if (HAL_RCC_ClockConfig(&RCC_ClkInitStruct, FLASH_LATENCY_4) != HAL_OK)
  {
    Error_Handler();
  }

  /** Enables the Clock Security System
  */
  HAL_RCC_EnableCSS();
}

/**
  * @brief NVIC Configuration.
  * @retval None
  */
static void MX_NVIC_Init(void)
{
  /* TIM2_IRQn interrupt configuration */
  HAL_NVIC_SetPriority(TIM2_IRQn, 5, 0);
  HAL_NVIC_EnableIRQ(TIM2_IRQn);
  /* TIM1_BRK_TIM15_IRQn interrupt configuration */
  HAL_NVIC_SetPriority(TIM1_BRK_TIM15_IRQn, 5, 0);
  HAL_NVIC_EnableIRQ(TIM1_BRK_TIM15_IRQn);
  /* TIM1_UP_TIM16_IRQn interrupt configuration */
  HAL_NVIC_SetPriority(TIM1_UP_TIM16_IRQn, 5, 0);
  HAL_NVIC_EnableIRQ(TIM1_UP_TIM16_IRQn);
  /* ADC1_2_IRQn interrupt configuration */
  HAL_NVIC_SetPriority(ADC1_2_IRQn, 5, 0);
  HAL_NVIC_EnableIRQ(ADC1_2_IRQn);
  /* EXTI15_10_IRQn interrupt configuration */
  HAL_NVIC_SetPriority(EXTI15_10_IRQn, 5, 0);
  HAL_NVIC_EnableIRQ(EXTI15_10_IRQn);
}

static void MX_ADC1_Init(void)
{

  ADC_MultiModeTypeDef multimode = {0};
  ADC_AnalogWDGConfTypeDef AnalogWDGConfig = {0};
  ADC_InjectionConfTypeDef sConfigInjected = {0};
  ADC_ChannelConfTypeDef sConfig = {0};

  /** Common config
  */
  hadc1.Instance = ADC1;
  hadc1.Init.ClockPrescaler = ADC_CLOCK_ASYNC_DIV1;
  hadc1.Init.Resolution = ADC_RESOLUTION_12B;
  hadc1.Init.DataAlign = ADC_DATAALIGN_LEFT;
  hadc1.Init.GainCompensation = 0;
  hadc1.Init.ScanConvMode = ADC_SCAN_ENABLE;
  hadc1.Init.EOCSelection = ADC_EOC_SINGLE_CONV;
  hadc1.Init.LowPowerAutoWait = DISABLE;
  hadc1.Init.ContinuousConvMode = DISABLE;
  hadc1.Init.NbrOfConversion = 2;
  hadc1.Init.DiscontinuousConvMode = DISABLE;
  hadc1.Init.ExternalTrigConv = ADC_SOFTWARE_START;
  hadc1.Init.ExternalTrigConvEdge = ADC_EXTERNALTRIGCONVEDGE_NONE;
  hadc1.Init.DMAContinuousRequests = DISABLE;
  hadc1.Init.Overrun = ADC_OVR_DATA_PRESERVED;
  hadc1.Init.OversamplingMode = DISABLE;
  if (HAL_ADC_Init(&hadc1) != HAL_OK)
  {
    Error_Handler();
  }

  /** Configure the ADC multi-mode
  */
  multimode.Mode = ADC_MODE_INDEPENDENT;
  if (HAL_ADCEx_MultiModeConfigChannel(&hadc1, &multimode) != HAL_OK)
  {
    Error_Handler();
  }

  /** Configure Analog WatchDog 1
  */
  AnalogWDGConfig.WatchdogNumber = ADC_ANALOGWATCHDOG_1;
  AnalogWDGConfig.WatchdogMode = ADC_ANALOGWATCHDOG_SINGLE_INJEC;
  AnalogWDGConfig.Channel = ADC_CHANNEL_9;
  AnalogWDGConfig.ITMode = DISABLE;
  AnalogWDGConfig.HighThreshold = 0;
  AnalogWDGConfig.LowThreshold = 0;
  AnalogWDGConfig.FilteringConfig = ADC_AWD_FILTERING_NONE;
  if (HAL_ADC_AnalogWDGConfig(&hadc1, &AnalogWDGConfig) != HAL_OK)
  {
    Error_Handler();
  }

  /** Configure Injected Channel
  */
  sConfigInjected.InjectedChannel = ADC_CHANNEL_9;
  sConfigInjected.InjectedRank = ADC_INJECTED_RANK_1;
  sConfigInjected.InjectedSamplingTime = ADC_SAMPLETIME_47CYCLES_5;
  sConfigInjected.InjectedSingleDiff = ADC_SINGLE_ENDED;
  sConfigInjected.InjectedOffsetNumber = ADC_OFFSET_NONE;
  sConfigInjected.InjectedOffset = 0;
  sConfigInjected.InjectedNbrOfConversion = 1;
  sConfigInjected.InjectedDiscontinuousConvMode = DISABLE;
  sConfigInjected.AutoInjectedConv = DISABLE;
  sConfigInjected.QueueInjectedContext = DISABLE;
  sConfigInjected.ExternalTrigInjecConv = ADC_EXTERNALTRIGINJEC_T1_TRGO;
  sConfigInjected.ExternalTrigInjecConvEdge = ADC_EXTERNALTRIGINJECCONV_EDGE_FALLING;
  sConfigInjected.InjecOversamplingMode = DISABLE;
  if (HAL_ADCEx_InjectedConfigChannel(&hadc1, &sConfigInjected) != HAL_OK)
  {
    Error_Handler();
  }

  /** Configure Regular Channel
  */
  sConfig.Channel = ADC_CHANNEL_1;
  sConfig.Rank = ADC_REGULAR_RANK_1;
  sConfig.SamplingTime = ADC_SAMPLETIME_47CYCLES_5;
  sConfig.SingleDiff = ADC_SINGLE_ENDED;
  sConfig.OffsetNumber = ADC_OFFSET_NONE;
  sConfig.Offset = 0;
  if (HAL_ADC_ConfigChannel(&hadc1, &sConfig) != HAL_OK)
  {
    Error_Handler();
  }

  /** Configure Regular Channel
  */
  sConfig.Channel = ADC_CHANNEL_8;
  sConfig.Rank = ADC_REGULAR_RANK_2;
  if (HAL_ADC_ConfigChannel(&hadc1, &sConfig) != HAL_OK)
  {
    Error_Handler();
  }

}

static void MX_ADC2_Init(void)
{

  ADC_AnalogWDGConfTypeDef AnalogWDGConfig = {0};
  ADC_InjectionConfTypeDef sConfigInjected = {0};
  ADC_ChannelConfTypeDef sConfig = {0};

  /** Common config
  */
  hadc2.Instance = ADC2;
  hadc2.Init.ClockPrescaler = ADC_CLOCK_ASYNC_DIV1;
  hadc2.Init.Resolution = ADC_RESOLUTION_12B;
  hadc2.Init.DataAlign = ADC_DATAALIGN_LEFT;
  hadc2.Init.GainCompensation = 0;
  hadc2.Init.ScanConvMode = ADC_SCAN_DISABLE;
  hadc2.Init.EOCSelection = ADC_EOC_SINGLE_CONV;
  hadc2.Init.LowPowerAutoWait = DISABLE;
  hadc2.Init.ContinuousConvMode = DISABLE;
  hadc2.Init.NbrOfConversion = 1;
  hadc2.Init.DiscontinuousConvMode = DISABLE;
  hadc2.Init.ExternalTrigConv = ADC_SOFTWARE_START;
  hadc2.Init.ExternalTrigConvEdge = ADC_EXTERNALTRIGCONVEDGE_NONE;
  hadc2.Init.DMAContinuousRequests = DISABLE;
  hadc2.Init.Overrun = ADC_OVR_DATA_PRESERVED;
  hadc2.Init.OversamplingMode = DISABLE;
  if (HAL_ADC_Init(&hadc2) != HAL_OK)
  {
    Error_Handler();
  }

  /** Configure Analog WatchDog 1
  */
  AnalogWDGConfig.WatchdogNumber = ADC_ANALOGWATCHDOG_1;
  AnalogWDGConfig.WatchdogMode = ADC_ANALOGWATCHDOG_SINGLE_INJEC;
  AnalogWDGConfig.Channel = ADC_CHANNEL_6;
  AnalogWDGConfig.ITMode = DISABLE;
  AnalogWDGConfig.HighThreshold = 0;
  AnalogWDGConfig.LowThreshold = 0;
  AnalogWDGConfig.FilteringConfig = ADC_AWD_FILTERING_NONE;
  if (HAL_ADC_AnalogWDGConfig(&hadc2, &AnalogWDGConfig) != HAL_OK)
  {
    Error_Handler();
  }

  /** Configure Injected Channel
  */
  sConfigInjected.InjectedChannel = ADC_CHANNEL_6;
  sConfigInjected.InjectedRank = ADC_INJECTED_RANK_1;
  sConfigInjected.InjectedSamplingTime = ADC_SAMPLETIME_47CYCLES_5;
  sConfigInjected.InjectedSingleDiff = ADC_SINGLE_ENDED;
  sConfigInjected.InjectedOffsetNumber = ADC_OFFSET_NONE;
  sConfigInjected.InjectedOffset = 0;
  sConfigInjected.InjectedNbrOfConversion = 1;
  sConfigInjected.InjectedDiscontinuousConvMode = DISABLE;
  sConfigInjected.AutoInjectedConv = DISABLE;
  sConfigInjected.QueueInjectedContext = DISABLE;
  sConfigInjected.ExternalTrigInjecConv = ADC_EXTERNALTRIGINJEC_T1_TRGO;
  sConfigInjected.ExternalTrigInjecConvEdge = ADC_EXTERNALTRIGINJECCONV_EDGE_FALLING;
  sConfigInjected.InjecOversamplingMode = DISABLE;
  if (HAL_ADCEx_InjectedConfigChannel(&hadc2, &sConfigInjected) != HAL_OK)
  {
    Error_Handler();
  }

  /** Configure Regular Channel
  */
  sConfig.Channel = ADC_CHANNEL_5;
  sConfig.Rank = ADC_REGULAR_RANK_1;
  sConfig.SamplingTime = ADC_SAMPLETIME_47CYCLES_5;
  sConfig.SingleDiff = ADC_SINGLE_ENDED;
  sConfig.OffsetNumber = ADC_OFFSET_NONE;
  sConfig.Offset = 0;
  if (HAL_ADC_ConfigChannel(&hadc2, &sConfig) != HAL_OK)
  {
    Error_Handler();
  }

}

static void MX_I2C3_Init(void)
{

  hi2c3.Instance = I2C3;
  hi2c3.Init.Timing = 0x40B285C2;
  hi2c3.Init.OwnAddress1 = 0;
  hi2c3.Init.AddressingMode = I2C_ADDRESSINGMODE_7BIT;
  hi2c3.Init.DualAddressMode = I2C_DUALADDRESS_DISABLE;
  hi2c3.Init.OwnAddress2 = 0;
  hi2c3.Init.OwnAddress2Masks = I2C_OA2_NOMASK;
  hi2c3.Init.GeneralCallMode = I2C_GENERALCALL_DISABLE;
  hi2c3.Init.NoStretchMode = I2C_NOSTRETCH_DISABLE;
  if (HAL_I2C_Init(&hi2c3) != HAL_OK)
  {
    Error_Handler();
  }

  /** Configure Analogue filter
  */
  if (HAL_I2CEx_ConfigAnalogFilter(&hi2c3, I2C_ANALOGFILTER_ENABLE) != HAL_OK)
  {
    Error_Handler();
  }

  /** Configure Digital filter
  */
  if (HAL_I2CEx_ConfigDigitalFilter(&hi2c3, 0) != HAL_OK)
  {
    Error_Handler();
  }

}

static void MX_TIM1_Init(void)
{

  TIM_ClockConfigTypeDef sClockSourceConfig = {0};
  TIM_MasterConfigTypeDef sMasterConfig = {0};
  TIMEx_BreakInputConfigTypeDef sBreakInputConfig = {0};
  TIM_OC_InitTypeDef sConfigOC = {0};
  TIM_BreakDeadTimeConfigTypeDef sBreakDeadTimeConfig = {0};

  htim1.Instance = TIM1;
  htim1.Init.Prescaler = ((TIM_CLOCK_DIVIDER) - 1);
  htim1.Init.CounterMode = TIM_COUNTERMODE_UP;
  htim1.Init.Period = (PWM_PERIOD_CYCLES);
  htim1.Init.ClockDivision = TIM_CLOCKDIVISION_DIV1;
  htim1.Init.RepetitionCounter = (REP_COUNTER);
  htim1.Init.AutoReloadPreload = TIM_AUTORELOAD_PRELOAD_DISABLE;
  if (HAL_TIM_Base_Init(&htim1) != HAL_OK)
  {
    Error_Handler();
  }
  sClockSourceConfig.ClockSource = TIM_CLOCKSOURCE_INTERNAL;
  if (HAL_TIM_ConfigClockSource(&htim1, &sClockSourceConfig) != HAL_OK)
  {
    Error_Handler();
  }
  if (HAL_TIM_PWM_Init(&htim1) != HAL_OK)
  {
    Error_Handler();
  }
  sMasterConfig.MasterOutputTrigger = TIM_TRGO_OC4REF;
  sMasterConfig.MasterOutputTrigger2 = TIM_TRGO2_RESET;
  sMasterConfig.MasterSlaveMode = TIM_MASTERSLAVEMODE_ENABLE;
  if (HAL_TIMEx_MasterConfigSynchronization(&htim1, &sMasterConfig) != HAL_OK)
  {
    Error_Handler();
  }
  sBreakInputConfig.Source = TIM_BREAKINPUTSOURCE_BKIN;
  sBreakInputConfig.Enable = TIM_BREAKINPUTSOURCE_ENABLE;
  sBreakInputConfig.Polarity = TIM_BREAKINPUTSOURCE_POLARITY_LOW;
  if (HAL_TIMEx_ConfigBreakInput(&htim1, TIM_BREAKINPUT_BRK, &sBreakInputConfig) != HAL_OK)
  {
    Error_Handler();
  }
  sConfigOC.OCMode = TIM_OCMODE_PWM1;
  sConfigOC.Pulse = 0;
  sConfigOC.OCPolarity = TIM_OCPOLARITY_HIGH;
  sConfigOC.OCNPolarity = TIM_OCNPOLARITY_HIGH;
  sConfigOC.OCFastMode = TIM_OCFAST_DISABLE;
  sConfigOC.OCIdleState = TIM_OCIDLESTATE_RESET;
  sConfigOC.OCNIdleState = TIM_OCNIDLESTATE_RESET;
  if (HAL_TIM_PWM_ConfigChannel(&htim1, &sConfigOC, TIM_CHANNEL_1) != HAL_OK)
  {
    Error_Handler();
  }
  if (HAL_TIM_PWM_ConfigChannel(&htim1, &sConfigOC, TIM_CHANNEL_2) != HAL_OK)
  {
    Error_Handler();
  }
  if (HAL_TIM_PWM_ConfigChannel(&htim1, &sConfigOC, TIM_CHANNEL_3) != HAL_OK)
  {
    Error_Handler();
  }
  if (HAL_TIM_PWM_ConfigChannel(&htim1, &sConfigOC, TIM_CHANNEL_4) != HAL_OK)
  {
    Error_Handler();
  }
  sBreakDeadTimeConfig.OffStateRunMode = TIM_OSSR_DISABLE;
  sBreakDeadTimeConfig.OffStateIDLEMode = TIM_OSSI_DISABLE;
  sBreakDeadTimeConfig.LockLevel = TIM_LOCKLEVEL_OFF;
  sBreakDeadTimeConfig.DeadTime = 0;
  sBreakDeadTimeConfig.BreakState = TIM_BREAK_ENABLE;
  sBreakDeadTimeConfig.BreakPolarity = TIM_BREAKPOLARITY_HIGH;
  sBreakDeadTimeConfig.BreakFilter = 4;
  sBreakDeadTimeConfig.BreakAFMode = TIM_BREAK_AFMODE_INPUT;
  sBreakDeadTimeConfig.Break2State = TIM_BREAK2_DISABLE;
  sBreakDeadTimeConfig.Break2Polarity = TIM_BREAK2POLARITY_HIGH;
  sBreakDeadTimeConfig.Break2Filter = 3;
  sBreakDeadTimeConfig.Break2AFMode = TIM_BREAK_AFMODE_INPUT;
  sBreakDeadTimeConfig.AutomaticOutput = TIM_AUTOMATICOUTPUT_DISABLE;
  if (HAL_TIMEx_ConfigBreakDeadTime(&htim1, &sBreakDeadTimeConfig) != HAL_OK)
  {
    Error_Handler();
  }
  HAL_TIM_MspPostInit(&htim1);

}

static void MX_TIM2_Init(void)
{

  TIM_ClockConfigTypeDef sClockSourceConfig = {0};
  TIM_MasterConfigTypeDef sMasterConfig = {0};

  htim2.Instance = TIM2;
  htim2.Init.Prescaler = LF_TIMER_PSC;
  htim2.Init.CounterMode = TIM_COUNTERMODE_UP;
  htim2.Init.Period = LF_TIMER_ARR;
  htim2.Init.ClockDivision = TIM_CLOCKDIVISION_DIV1;
  htim2.Init.AutoReloadPreload = TIM_AUTORELOAD_PRELOAD_DISABLE;
  if (HAL_TIM_Base_Init(&htim2) != HAL_OK)
  {
    Error_Handler();
  }
  sClockSourceConfig.ClockSource = TIM_CLOCKSOURCE_INTERNAL;
  if (HAL_TIM_ConfigClockSource(&htim2, &sClockSourceConfig) != HAL_OK)
  {
    Error_Handler();
  }
  sMasterConfig.MasterOutputTrigger = TIM_TRGO_ENABLE;
  sMasterConfig.MasterSlaveMode = TIM_MASTERSLAVEMODE_ENABLE;
  if (HAL_TIMEx_MasterConfigSynchronization(&htim2, &sMasterConfig) != HAL_OK)
  {
    Error_Handler();
  }

}

static void MX_USART1_UART_Init(void)
{

  huart1.Instance = USART1;
  huart1.Init.BaudRate = 115200;
  huart1.Init.WordLength = UART_WORDLENGTH_8B;
  huart1.Init.StopBits = UART_STOPBITS_1;
  huart1.Init.Parity = UART_PARITY_NONE;
  huart1.Init.Mode = UART_MODE_TX_RX;
  huart1.Init.HwFlowCtl = UART_HWCONTROL_NONE;
  huart1.Init.OverSampling = UART_OVERSAMPLING_16;
  huart1.Init.OneBitSampling = UART_ONE_BIT_SAMPLE_DISABLE;
  huart1.Init.ClockPrescaler = UART_PRESCALER_DIV1;
  huart1.AdvancedInit.AdvFeatureInit = UART_ADVFEATURE_NO_INIT;
  if (HAL_UART_Init(&huart1) != HAL_OK)
  {
    Error_Handler();
  }
  if (HAL_UARTEx_SetTxFifoThreshold(&huart1, UART_TXFIFO_THRESHOLD_1_8) != HAL_OK)
  {
    Error_Handler();
  }
  if (HAL_UARTEx_SetRxFifoThreshold(&huart1, UART_RXFIFO_THRESHOLD_1_8) != HAL_OK)
  {
    Error_Handler();
  }
  if (HAL_UARTEx_DisableFifoMode(&huart1) != HAL_OK)
  {
    Error_Handler();
  }

}

static void MX_GPIO_Init(void)
{
  GPIO_InitTypeDef GPIO_InitStruct = {0};

  /* GPIO Ports Clock Enable */
  __HAL_RCC_GPIOC_CLK_ENABLE();
  __HAL_RCC_GPIOF_CLK_ENABLE();
  __HAL_RCC_GPIOA_CLK_ENABLE();
  __HAL_RCC_GPIOB_CLK_ENABLE();

  /*Configure GPIO pin Output Level */
  HAL_GPIO_WritePin(GPIOB, M1_PWM_EN_U_Pin|M1_PWM_EN_V_Pin|M1_PWM_EN_W_Pin, GPIO_PIN_RESET);

  /*Configure GPIO pin Output Level */
  HAL_GPIO_WritePin(M1_BEMF_DIVIDER_GPIO_Port, M1_BEMF_DIVIDER_Pin, GPIO_PIN_RESET);

  /*Configure GPIO pin : Start_Stop_Pin */
  GPIO_InitStruct.Pin = Start_Stop_Pin;
  GPIO_InitStruct.Mode = GPIO_MODE_IT_FALLING;
  GPIO_InitStruct.Pull = GPIO_NOPULL;
  HAL_GPIO_Init(Start_Stop_GPIO_Port, &GPIO_InitStruct);

  /*Configure GPIO pins : UART_TX_Pin UART_RX_Pin */
  GPIO_InitStruct.Pin = UART_TX_Pin|UART_RX_Pin;
  GPIO_InitStruct.Mode = GPIO_MODE_AF_PP;
  GPIO_InitStruct.Pull = GPIO_NOPULL;
  GPIO_InitStruct.Speed = GPIO_SPEED_FREQ_LOW;
  GPIO_InitStruct.Alternate = GPIO_AF7_USART2;
  HAL_GPIO_Init(GPIOA, &GPIO_InitStruct);

  /*Configure GPIO pins : M1_PWM_EN_U_Pin M1_PWM_EN_V_Pin M1_PWM_EN_W_Pin */
  GPIO_InitStruct.Pin = M1_PWM_EN_U_Pin|M1_PWM_EN_V_Pin|M1_PWM_EN_W_Pin;
  GPIO_InitStruct.Mode = GPIO_MODE_OUTPUT_PP;
  GPIO_InitStruct.Pull = GPIO_PULLDOWN;
  GPIO_InitStruct.Speed = GPIO_SPEED_FREQ_HIGH;
  HAL_GPIO_Init(GPIOB, &GPIO_InitStruct);

  /*Configure GPIO pin : M1_BEMF_DIVIDER_Pin */
  GPIO_InitStruct.Pin = M1_BEMF_DIVIDER_Pin;
  GPIO_InitStruct.Mode = GPIO_MODE_OUTPUT_PP;
  GPIO_InitStruct.Pull = GPIO_PULLDOWN;
  GPIO_InitStruct.Speed = GPIO_SPEED_FREQ_LOW;
  HAL_GPIO_Init(M1_BEMF_DIVIDER_GPIO_Port, &GPIO_InitStruct);

}

/* USER CODE BEGIN 4 */
void writeLCDText(char *line1, char *line2)
{
    uint8_t clear_cmd[] = {0xFE, 0x01};
    uint8_t home_cmd[]  = {0xFE, 0x80};
    uint8_t line2_cmd[] = {0xFE, 0xC0};

    // Clear Screen
    HAL_I2C_Master_Transmit(&hi2c3, SERLCD_WRITE_ADDR, clear_cmd, 2, HAL_MAX_DELAY);
    HAL_Delay(1);

    // Write Line 1
    HAL_I2C_Master_Transmit(&hi2c3, SERLCD_WRITE_ADDR, home_cmd, 2, HAL_MAX_DELAY);
    HAL_Delay(1);
    HAL_I2C_Master_Transmit(&hi2c3, SERLCD_WRITE_ADDR, (uint8_t*)line1, strlen(line1), HAL_MAX_DELAY);

    // Write Line 2
	HAL_I2C_Master_Transmit(&hi2c3, SERLCD_WRITE_ADDR, line2_cmd, 2, HAL_MAX_DELAY);
	HAL_Delay(1);
	HAL_I2C_Master_Transmit(&hi2c3, SERLCD_WRITE_ADDR, (uint8_t*)line2, strlen(line2), HAL_MAX_DELAY);
}
/* USER CODE END 4 */

void StartDefaultTask(void *argument)
{
  for(;;)
  {
    osDelay(1);
  }
}

void StartTask02(void *argument)
{
  /* USER CODE BEGIN StartTask02 */
  bool is_pressed = false;
  bool last_btn_state = false;

  for(;;)
  {
	is_pressed = (HAL_GPIO_ReadPin(Start_Stop_GPIO_Port, Start_Stop_Pin) == GPIO_PIN_RESET);
    if (is_pressed && !last_btn_state) {
        motor_running = !motor_running;

        if (motor_running) {
            MC_AcknowledgeFaultMotor1();
            MC_StartMotor1();
        } else {
            MC_StopMotor1();
        }
    }
    last_btn_state = is_pressed;
    osDelay(50);
  }
  /* USER CODE END StartTask02 */
}

//void StartTask03(void *argument)
//{
//  /* USER CODE BEGIN StartTask03 */
//  char line1_buf[17];
//  char line2_buf[17];
//
//  for(;;)
//  {
//    // 1. Get the Potentiometer Target (Reference) Speed
//    int16_t target_speed = MC_GetMecSpeedReferenceMotor1();
//
//    // 2. Get the Actual Mechanical Speed
//    int16_t actual_speed = MC_GetMecSpeedAverageMotor1();
//
//    // 3. Format strings. The extra spaces ensure old ghost digits are wiped out.
//    sprintf(line1_buf, "Target: %-3d       ", target_speed);
//    sprintf(line2_buf, "Actual: %-3d       ", actual_speed);
//
//    // 4. Send to the two-line display function
//    writeLCDText(line1_buf, line2_buf);
//
//    // Update at 2 frames per second
//    osDelay(500);
//  }
//  /* USER CODE END StartTask03 */
//}
void StartTask03(void *argument)
{
  char line1_buf[17];
  char line2_buf[17];

  for(;;)
  {

	int16_t target_speed;
    int16_t actual_speed = MC_GetMecSpeedAverageMotor1();
    uint16_t current_faults = MC_GetCurrentFaultsMotor1(); // Read the fault state
    if(motor_running) {
        target_speed = MC_GetMecSpeedReferenceMotor1();
    } else {
    	target_speed = 0;
    }
    sprintf(line1_buf, "Target: %-3d     ", target_speed);

    if (current_faults != 0) {
        // If a fault exists, print its Hex code instead of the actual speed
        sprintf(line2_buf, "Fault: 0x%04X  ", current_faults);
    } else {
        sprintf(line2_buf, "Actual: %-3d     ", actual_speed);
    }

    writeLCDText(line1_buf, line2_buf);
    osDelay(250);
  }
}
void HAL_TIM_PeriodElapsedCallback(TIM_HandleTypeDef *htim)
{
  if (htim->Instance == TIM6)
  {
    HAL_IncTick();
  }
  /* USER CODE BEGIN Callback 1 */
  if (htim->Instance == TIM6)
    {
      MC_RunMotorControlTasks();
    }
  /* USER CODE END Callback 1 */
}

void Error_Handler(void)
{
  __disable_irq();
  while (1)
  {
  }
}
